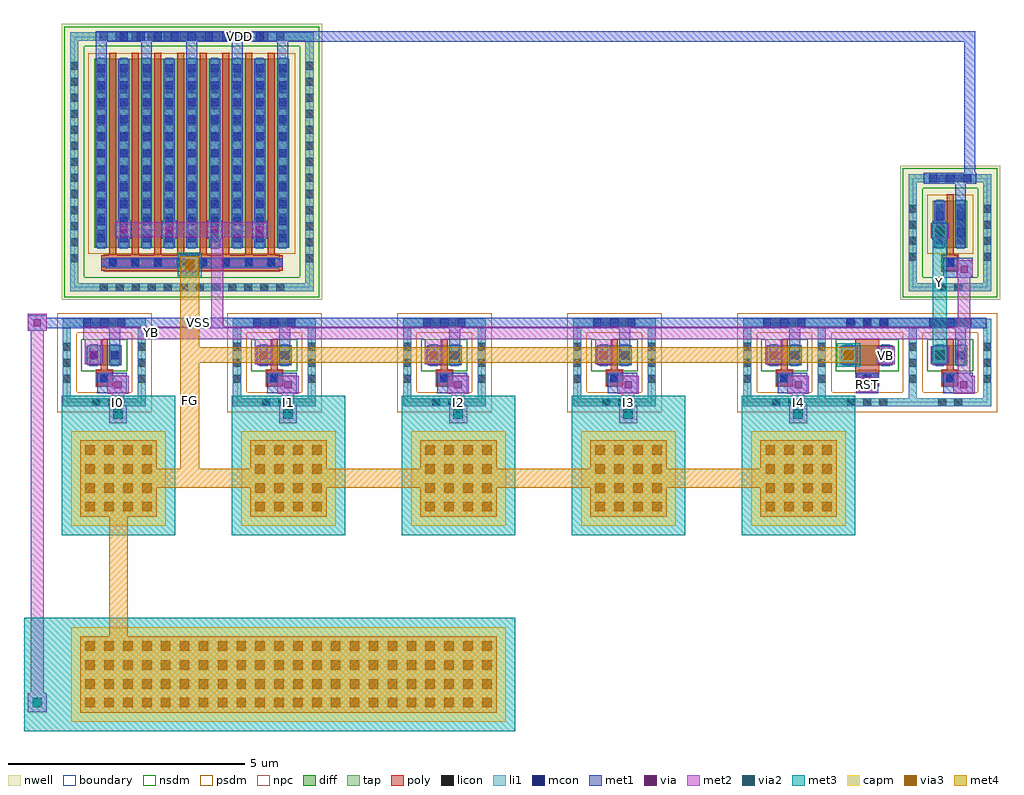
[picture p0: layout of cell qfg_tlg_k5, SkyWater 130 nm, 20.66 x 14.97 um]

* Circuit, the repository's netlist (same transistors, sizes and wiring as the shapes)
.subckt qfg_tlg_k5 I0 I1 I2 I3 I4 RST VB Y YB FG VDD VSS
XMP  YB FG VDD VDD sky130_fd_pr__pfet_01v8 W=32.0 L=0.15
XMNI0 YB I0 VSS VSS sky130_fd_pr__nfet_01v8 W=0.42 L=0.15
XMNI1 YB I1 VSS VSS sky130_fd_pr__nfet_01v8 W=0.42 L=0.15
XMNI2 YB I2 VSS VSS sky130_fd_pr__nfet_01v8 W=0.42 L=0.15
XMNI3 YB I3 VSS VSS sky130_fd_pr__nfet_01v8 W=0.42 L=0.15
XMNI4 YB I4 VSS VSS sky130_fd_pr__nfet_01v8 W=0.42 L=0.15
XCI0 FG I0 sky130_fd_pr__cap_mim_m3_1 W=2.0 L=2.0 MF=1
XCI1 FG I1 sky130_fd_pr__cap_mim_m3_1 W=2.0 L=2.0 MF=1
XCI2 FG I2 sky130_fd_pr__cap_mim_m3_1 W=2.0 L=2.0 MF=1
XCI3 FG I3 sky130_fd_pr__cap_mim_m3_1 W=2.0 L=2.0 MF=1
XCI4 FG I4 sky130_fd_pr__cap_mim_m3_1 W=2.0 L=2.0 MF=1
XCBL FG VSS sky130_fd_pr__cap_mim_m3_1 W=9.2 L=2.0 MF=1
XMR  FG RST VB VSS sky130_fd_pr__nfet_01v8 W=0.42 L=0.5
XIP  Y  YB VDD VDD sky130_fd_pr__pfet_01v8 W=1.0 L=0.15
XIN  Y  YB VSS VSS sky130_fd_pr__nfet_01v8 W=0.42 L=0.15
.ends qfg_tlg_k5

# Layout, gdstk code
import gdstk
lib = gdstk.Library(unit=1e-6, precision=1e-09)
def R(c, l, rs):  # rectangles x0, y0, x1, y1
    for r in rs: c.add(gdstk.rectangle(r[:2], r[2:], *l))
def A(c, l, x, y, w, h, nx, ny, dx, dy):  # array of equal rectangles
    R(c, l, [(x+i*dx, y+j*dy, x+i*dx+w, y+j*dy+h) for i in range(nx) for j in range(ny)])
nwell = (64, 20)
diff = (65, 20)
tap = (65, 44)
poly = (66, 20)
licon = (66, 44)
li1 = (67, 20)
mcon = (67, 44)
met1 = (68, 20)
via = (68, 44)
met2 = (69, 20)
via2 = (69, 44)
met3 = (70, 20)
via3 = (70, 44)
met4 = (71, 20)
capm = (89, 44)
nsdm = (93, 44)
psdm = (94, 20)
npc = (95, 20)
boundary = (235, 4)

sky130_fd_pr__nfet_01v8_ = lib.new_cell('sky130_fd_pr__nfet_01v8_EQ7N4B')
R(sky130_fd_pr__nfet_01v8_, diff, [(-0.54,-0.055,0.54,0.365)])
R(sky130_fd_pr__nfet_01v8_, tap, [(-1.05,-0.925,1.05,-0.755), (-1.05,-0.755,-0.88,0.755), (0.88,-0.755,1.05,0.755), (-1.05,0.755,1.05,0.925)])
R(sky130_fd_pr__nfet_01v8_, poly, [(-0.25,-0.495,0.25,0.495)])
A(sky130_fd_pr__nfet_01v8_, licon, -0.425, -0.925, 0.17, 0.17, 3, 2, 0.34, 1.68)
A(sky130_fd_pr__nfet_01v8_, licon, -1.05, -0.425, 0.17, 0.17, 1, 3, 0, 0.34)
A(sky130_fd_pr__nfet_01v8_, licon, 0.88, -0.425, 0.17, 0.17, 1, 3, 0, 0.34)
R(sky130_fd_pr__nfet_01v8_, licon, [(-0.085,-0.415,0.085,-0.245), (-0.48,0.07,-0.31,0.24), (0.31,0.07,0.48,0.24)])
R(sky130_fd_pr__nfet_01v8_, li1, [(-1.05,-0.925,1.05,-0.755), (-1.05,-0.755,-0.88,0.755), (0.88,-0.755,1.05,0.755), (-0.25,-0.415,0.25,-0.245), (-0.48,-0.075,-0.31,0.385), (0.31,-0.075,0.48,0.385), (-1.05,0.755,1.05,0.925)])
A(sky130_fd_pr__nfet_01v8_, mcon, -0.445, 0.755, 0.17, 0.17, 3, 1, 0.36, 0)
R(sky130_fd_pr__nfet_01v8_, mcon, [(-0.085,-0.415,0.085,-0.245), (-0.48,0.07,-0.31,0.24), (0.31,0.07,0.48,0.24)])
R(sky130_fd_pr__nfet_01v8_, met1, [(-0.23,-0.445,0.23,-0.215), (-0.51,-0.055,-0.28,0.365), (0.28,-0.055,0.51,0.365), (-0.675,0.725,0.675,0.955)])
R(sky130_fd_pr__nfet_01v8_, nsdm, [(-0.665,-0.18,0.665,0.49)])
R(sky130_fd_pr__nfet_01v8_, psdm, [(-1.175,-1.05,1.175,-0.63), (-1.175,-0.63,-0.755,0.63), (0.755,-0.63,1.175,0.63), (-1.175,0.63,1.175,1.05)])
R(sky130_fd_pr__nfet_01v8_, npc, [(-0.185,-0.515,0.185,-0.145)])
R(sky130_fd_pr__nfet_01v8_, boundary, [(-0.965,-0.84,0.965,0.84)])
sky130_fd_pr__nfet_01v8_.add(gdstk.Label('B', (0,-0.84), layer=67, texttype=5))
sky130_fd_pr__nfet_01v8_.add(gdstk.Label('D', (-0.395,0.155), layer=67, texttype=5))
sky130_fd_pr__nfet_01v8_.add(gdstk.Label('S', (0.395,0.155), layer=67, texttype=5))
sky130_fd_pr__nfet_01v8_.add(gdstk.Label('G', (0,-0.33), layer=67, texttype=5))

sky130_fd_pr__pfet_01v8_ = lib.new_cell('sky130_fd_pr__pfet_01v8_DC2PY3')
R(sky130_fd_pr__pfet_01v8_, nwell, [(-2.755,-2.92,2.755,2.92)])
R(sky130_fd_pr__pfet_01v8_, diff, [(-2.065,-1.82,2.065,2.18)])
R(sky130_fd_pr__pfet_01v8_, tap, [(-2.575,-2.74,2.575,-2.57), (-2.575,-2.57,-2.405,2.57), (2.405,-2.57,2.575,2.57), (-2.575,2.57,2.575,2.74)])
A(sky130_fd_pr__pfet_01v8_, poly, -1.755, -1.975, 0.15, 4.285, 8, 1, 0.48, 0)
R(sky130_fd_pr__pfet_01v8_, poly, [(-1.92,-2.305,1.92,-1.975)])
A(sky130_fd_pr__pfet_01v8_, licon, -1.955, -2.74, 0.17, 0.17, 12, 2, 0.34, 5.31)
A(sky130_fd_pr__pfet_01v8_, licon, -1.765, -2.225, 0.17, 0.17, 8, 1, 0.48, 0)
A(sky130_fd_pr__pfet_01v8_, licon, -2.575, -2.125, 0.17, 0.17, 1, 13, 0, 0.34)
A(sky130_fd_pr__pfet_01v8_, licon, 2.405, -2.125, 0.17, 0.17, 1, 13, 0, 0.34)
A(sky130_fd_pr__pfet_01v8_, licon, -2.005, -1.605, 0.17, 0.17, 9, 11, 0.48, 0.34)
A(sky130_fd_pr__pfet_01v8_, li1, -2.005, -1.84, 0.17, 4.04, 9, 1, 0.48, 0)
R(sky130_fd_pr__pfet_01v8_, li1, [(-2.575,-2.74,2.575,-2.57), (-2.575,-2.57,-2.405,2.57), (2.405,-2.57,2.575,2.57), (-1.92,-2.225,1.92,-2.055), (-2.575,2.57,2.575,2.74)])
A(sky130_fd_pr__pfet_01v8_, mcon, -1.765, -2.225, 0.17, 0.17, 8, 1, 0.48, 0)
A(sky130_fd_pr__pfet_01v8_, mcon, -2.005, -1.705, 0.17, 0.17, 9, 11, 0.48, 0.36)
A(sky130_fd_pr__pfet_01v8_, mcon, -1.525, 2.57, 0.17, 0.17, 9, 1, 0.36, 0)
A(sky130_fd_pr__pfet_01v8_, met1, -1.825, -2.255, 0.29, 0.03, 8, 2, 0.48, 0.2)
A(sky130_fd_pr__pfet_01v8_, met1, -2.035, -1.82, 0.23, 4, 9, 1, 0.48, 0)
R(sky130_fd_pr__pfet_01v8_, met1, [(-1.92,-2.225,1.92,-2.055), (-1.745,2.54,1.745,2.77)])
R(sky130_fd_pr__pfet_01v8_, nsdm, [(-2.7,-2.865,2.7,-2.445), (-2.7,-2.445,-2.28,2.445), (2.28,-2.445,2.7,2.445), (-2.7,2.445,2.7,2.865)])
R(sky130_fd_pr__pfet_01v8_, psdm, [(-2.19,-1.945,2.19,2.305)])
R(sky130_fd_pr__pfet_01v8_, npc, [(-1.865,-2.325,1.865,-1.955)])
R(sky130_fd_pr__pfet_01v8_, boundary, [(-2.49,-2.655,2.49,2.655)])
sky130_fd_pr__pfet_01v8_.add(gdstk.Label('B', (0,-2.655), layer=67, texttype=5))
sky130_fd_pr__pfet_01v8_.add(gdstk.Label('D0', (-1.92,0.18), layer=67, texttype=5))
sky130_fd_pr__pfet_01v8_.add(gdstk.Label('G', (0.72,-2.14), layer=67, texttype=5))
sky130_fd_pr__pfet_01v8_.add(gdstk.Label('G', (-0.24,-2.14), layer=67, texttype=5))
sky130_fd_pr__pfet_01v8_.add(gdstk.Label('G', (1.2,-2.14), layer=67, texttype=5))
sky130_fd_pr__pfet_01v8_.add(gdstk.Label('G', (0.24,-2.14), layer=67, texttype=5))
sky130_fd_pr__pfet_01v8_.add(gdstk.Label('G', (1.68,-2.14), layer=67, texttype=5))
sky130_fd_pr__pfet_01v8_.add(gdstk.Label('G', (-0.72,-2.14), layer=67, texttype=5))
sky130_fd_pr__pfet_01v8_.add(gdstk.Label('G', (-1.2,-2.14), layer=67, texttype=5))
sky130_fd_pr__pfet_01v8_.add(gdstk.Label('G', (-1.68,-2.14), layer=67, texttype=5))
sky130_fd_pr__pfet_01v8_.add(gdstk.Label('S1', (-1.44,0.18), layer=67, texttype=5))
sky130_fd_pr__pfet_01v8_.add(gdstk.Label('D2', (-0.96,0.18), layer=67, texttype=5))
sky130_fd_pr__pfet_01v8_.add(gdstk.Label('S3', (-0.48,0.18), layer=67, texttype=5))
sky130_fd_pr__pfet_01v8_.add(gdstk.Label('D4', (0,0.18), layer=67, texttype=5))
sky130_fd_pr__pfet_01v8_.add(gdstk.Label('S5', (0.48,0.18), layer=67, texttype=5))
sky130_fd_pr__pfet_01v8_.add(gdstk.Label('D6', (0.96,0.18), layer=67, texttype=5))
sky130_fd_pr__pfet_01v8_.add(gdstk.Label('S7', (1.44,0.18), layer=67, texttype=5))

c_sky130_fd_pr__nfet_01v8_ = lib.new_cell('sky130_fd_pr__nfet_01v8_M48NH5')
R(c_sky130_fd_pr__nfet_01v8_, diff, [(-0.365,-0.055,0.365,0.365)])
R(c_sky130_fd_pr__nfet_01v8_, tap, [(-0.875,-0.925,0.875,-0.755), (-0.875,-0.755,-0.705,0.755), (0.705,-0.755,0.875,0.755), (-0.875,0.755,0.875,0.925)])
R(c_sky130_fd_pr__nfet_01v8_, poly, [(-0.165,-0.495,0.165,-0.165), (-0.075,-0.165,0.075,0.495)])
A(c_sky130_fd_pr__nfet_01v8_, licon, -0.875, -0.425, 0.17, 0.17, 1, 3, 0, 0.34)
A(c_sky130_fd_pr__nfet_01v8_, licon, 0.705, -0.425, 0.17, 0.17, 1, 3, 0, 0.34)
R(c_sky130_fd_pr__nfet_01v8_, licon, [(-0.255,-0.925,-0.085,-0.755), (0.085,-0.925,0.255,-0.755), (-0.085,-0.415,0.085,-0.245), (-0.305,0.07,-0.135,0.24), (0.135,0.07,0.305,0.24), (-0.255,0.755,-0.085,0.925), (0.085,0.755,0.255,0.925)])
R(c_sky130_fd_pr__nfet_01v8_, li1, [(-0.875,-0.925,0.875,-0.755), (-0.875,-0.755,-0.705,0.755), (0.705,-0.755,0.875,0.755), (-0.165,-0.415,0.165,-0.245), (-0.305,-0.075,-0.135,0.385), (0.135,-0.075,0.305,0.385), (-0.875,0.755,0.875,0.925)])
A(c_sky130_fd_pr__nfet_01v8_, mcon, -0.445, 0.755, 0.17, 0.17, 3, 1, 0.36, 0)
R(c_sky130_fd_pr__nfet_01v8_, mcon, [(-0.085,-0.415,0.085,-0.245), (-0.305,0.07,-0.135,0.24), (0.135,0.07,0.305,0.24)])
R(c_sky130_fd_pr__nfet_01v8_, met1, [(-0.145,-0.445,0.145,-0.215), (-0.335,-0.055,-0.105,0.365), (0.105,-0.055,0.335,0.365), (-0.555,0.725,0.555,0.955)])
R(c_sky130_fd_pr__nfet_01v8_, nsdm, [(-0.49,-0.18,0.49,0.49)])
R(c_sky130_fd_pr__nfet_01v8_, psdm, [(-1,-1.05,1,-0.63), (-1,-0.63,-0.58,0.63), (0.58,-0.63,1,0.63), (-1,0.63,1,1.05)])
R(c_sky130_fd_pr__nfet_01v8_, npc, [(-0.185,-0.515,0.185,-0.145)])
R(c_sky130_fd_pr__nfet_01v8_, boundary, [(-0.79,-0.84,0.79,0.84)])
c_sky130_fd_pr__nfet_01v8_.add(gdstk.Label('B', (0,-0.84), layer=67, texttype=5))
c_sky130_fd_pr__nfet_01v8_.add(gdstk.Label('D', (-0.22,0.155), layer=67, texttype=5))
c_sky130_fd_pr__nfet_01v8_.add(gdstk.Label('S', (0.22,0.155), layer=67, texttype=5))
c_sky130_fd_pr__nfet_01v8_.add(gdstk.Label('G', (0,-0.33), layer=67, texttype=5))

c_sky130_fd_pr__pfet_01v8_ = lib.new_cell('sky130_fd_pr__pfet_01v8_SEBX2B')
R(c_sky130_fd_pr__pfet_01v8_, nwell, [(-1.055,-1.42,1.055,1.42)])
R(c_sky130_fd_pr__pfet_01v8_, diff, [(-0.365,-0.32,0.365,0.68)])
R(c_sky130_fd_pr__pfet_01v8_, tap, [(-0.875,-1.24,0.875,-1.07), (-0.875,-1.07,-0.705,1.07), (0.705,-1.07,0.875,1.07), (-0.875,1.07,0.875,1.24)])
R(c_sky130_fd_pr__pfet_01v8_, poly, [(-0.165,-0.805,0.165,-0.475), (-0.075,-0.475,0.075,0.81)])
A(c_sky130_fd_pr__pfet_01v8_, licon, -0.875, -0.595, 0.17, 0.17, 1, 4, 0, 0.34)
A(c_sky130_fd_pr__pfet_01v8_, licon, 0.705, -0.595, 0.17, 0.17, 1, 4, 0, 0.34)
A(c_sky130_fd_pr__pfet_01v8_, licon, -0.305, -0.245, 0.17, 0.17, 1, 3, 0, 0.34)
A(c_sky130_fd_pr__pfet_01v8_, licon, 0.135, -0.245, 0.17, 0.17, 1, 3, 0, 0.34)
R(c_sky130_fd_pr__pfet_01v8_, licon, [(-0.255,-1.24,-0.085,-1.07), (0.085,-1.24,0.255,-1.07), (-0.085,-0.725,0.085,-0.555), (-0.255,1.07,-0.085,1.24), (0.085,1.07,0.255,1.24)])
R(c_sky130_fd_pr__pfet_01v8_, li1, [(-0.875,-1.24,0.875,-1.07), (-0.875,-1.07,-0.705,1.07), (0.705,-1.07,0.875,1.07), (-0.165,-0.725,0.165,-0.555), (-0.305,-0.34,-0.135,0.7), (0.135,-0.34,0.305,0.7), (-0.875,1.07,0.875,1.24)])
A(c_sky130_fd_pr__pfet_01v8_, mcon, -0.445, 1.07, 0.17, 0.17, 3, 1, 0.36, 0)
R(c_sky130_fd_pr__pfet_01v8_, mcon, [(-0.085,-0.725,0.085,-0.555), (-0.305,-0.085,-0.135,0.085), (0.135,-0.085,0.305,0.085), (-0.305,0.275,-0.135,0.445), (0.135,0.275,0.305,0.445)])
R(c_sky130_fd_pr__pfet_01v8_, met1, [(-0.145,-0.755,0.145,-0.525), (-0.335,-0.32,-0.105,0.68), (0.105,-0.32,0.335,0.68), (-0.555,1.04,0.555,1.27)])
R(c_sky130_fd_pr__pfet_01v8_, nsdm, [(-1,-1.365,1,-0.945), (-1,-0.945,-0.58,0.945), (0.58,-0.945,1,0.945), (-1,0.945,1,1.365)])
R(c_sky130_fd_pr__pfet_01v8_, psdm, [(-0.49,-0.445,0.49,0.805)])
R(c_sky130_fd_pr__pfet_01v8_, npc, [(-0.185,-0.825,0.185,-0.455)])
R(c_sky130_fd_pr__pfet_01v8_, boundary, [(-0.79,-1.155,0.79,1.155)])
c_sky130_fd_pr__pfet_01v8_.add(gdstk.Label('B', (0,-1.155), layer=67, texttype=5))
c_sky130_fd_pr__pfet_01v8_.add(gdstk.Label('D', (-0.22,0.18), layer=67, texttype=5))
c_sky130_fd_pr__pfet_01v8_.add(gdstk.Label('S', (0.22,0.18), layer=67, texttype=5))
c_sky130_fd_pr__pfet_01v8_.add(gdstk.Label('G', (0,-0.64), layer=67, texttype=5))

qfg_tlg_k5 = lib.new_cell('qfg_tlg_k5')
A(qfg_tlg_k5, met1, 0.755, 7.15, 0.625, 0.435, 5, 1, 3.6, 0)
A(qfg_tlg_k5, met1, 0.52, 7.77, 0.32, 0.38, 5, 1, 3.6, 0)
A(qfg_tlg_k5, met1, 1.005, 8.1, 0.23, 0.425, 5, 1, 3.6, 0)
A(qfg_tlg_k5, met1, 1.155, 10.42, 0.32, 0.38, 4, 1, 0.96, 0)
A(qfg_tlg_k5, met1, 0.72, 14.2, 0.23, 0.39, 5, 1, 0.96, 0)
R(qfg_tlg_k5, met1, [(16.825,7.15,17.285,7.585), (18.665,7.15,19.29,7.585), (16.5,7.77,16.82,8.15), (17.29,7.77,17.61,8.15), (18.43,7.77,18.75,8.15), (18.915,8.1,19.145,8.525), (-0.72,8.48,-0.32,8.525), (-0.72,8.525,19.57,8.755), (-0.72,8.755,-0.32,8.8), (18.665,9.6,19.29,10.025), (2.51,9.67,2.91,9.795), (0.93,9.795,4.58,10.025), (2.51,10.025,2.91,10.08), (18.43,10.4,18.75,10.78), (18.915,11.2,19.145,11.59), (18.915,11.59,19.34,11.61), (19.11,11.61,19.34,14.59), (0.72,14.59,19.34,14.82)])
A(qfg_tlg_k5, via, 1.115, 7.255, 0.15, 0.15, 5, 1, 3.6, 0)
A(qfg_tlg_k5, via, 0.605, 7.885, 0.15, 0.15, 5, 1, 3.6, 0)
A(qfg_tlg_k5, via, 1.24, 10.535, 0.15, 0.15, 4, 1, 0.96, 0)
R(qfg_tlg_k5, via, [(16.98,7.255,17.13,7.405), (19.025,7.255,19.175,7.405), (16.585,7.885,16.735,8.035), (17.375,7.885,17.525,8.035), (18.515,7.885,18.665,8.035), (-0.595,8.565,-0.445,8.715), (19.035,9.705,19.185,9.855), (2.635,9.8,2.785,9.95), (18.515,10.515,18.665,10.665)])
A(qfg_tlg_k5, met2, 1, 6.52, 0.38, 0.38, 5, 1, 3.6, 0)
A(qfg_tlg_k5, met2, 1.06, 6.9, 0.26, 0.24, 5, 1, 3.6, 0)
A(qfg_tlg_k5, met2, 0.96, 7.14, 0.46, 0.38, 5, 1, 3.6, 0)
A(qfg_tlg_k5, met2, 0.49, 7.77, 0.38, 0.53, 5, 1, 3.6, 0)
R(qfg_tlg_k5, met2, [(-0.72,0.4,-0.32,0.8), (-0.66,0.8,-0.38,8.48), (18.87,7.14,19.33,7.52), (16.865,7.17,17.245,7.49), (18.97,7.52,19.23,8.3), (16.47,7.77,16.85,8.15), (17.26,7.77,17.64,8.15), (18.4,7.77,18.78,8.15), (0.45,8.3,19.23,8.56), (-0.72,8.48,-0.32,8.83), (3.16,8.56,3.42,10.45), (18.97,8.56,19.23,9.62), (18.95,9.62,19.29,9.97), (2.52,9.7,2.9,10.05), (18.4,10.43,18.78,10.75), (1.135,10.45,4.375,10.77)])
A(qfg_tlg_k5, via2, 1.09, 6.61, 0.2, 0.2, 5, 1, 3.6, 0)
R(qfg_tlg_k5, via2, [(-0.62,0.5,-0.42,0.7), (16.56,7.86,16.76,8.06), (18.49,7.86,18.69,8.06), (2.61,9.775,2.81,9.975), (18.49,10.49,18.69,10.69)])
A(qfg_tlg_k5, met3, 0, 4.15, 2.4, 2.95, 5, 1, 3.6, 0)
R(qfg_tlg_k5, met3, [(-0.8,0,9.6,2.4), (16.41,7.71,16.91,8.21), (18.42,7.79,18.76,8.13), (18.44,8.13,18.74,10.42), (2.46,9.625,2.96,10.125), (18.42,10.42,18.76,10.76)])
A(qfg_tlg_k5, via3, 0.5, 0.5, 0.2, 0.2, 22, 4, 0.4, 0.4)
A(qfg_tlg_k5, via3, 0.5, 4.65, 0.2, 0.2, 4, 4, 0.4, 0.4)
A(qfg_tlg_k5, via3, 4.1, 4.65, 0.2, 0.2, 4, 4, 0.4, 0.4)
A(qfg_tlg_k5, via3, 7.7, 4.65, 0.2, 0.2, 4, 4, 0.4, 0.4)
A(qfg_tlg_k5, via3, 11.3, 4.65, 0.2, 0.2, 4, 4, 0.4, 0.4)
A(qfg_tlg_k5, via3, 14.9, 4.65, 0.2, 0.2, 4, 4, 0.4, 0.4)
R(qfg_tlg_k5, via3, [(16.56,7.86,16.76,8.06), (2.61,9.775,2.81,9.975)])
A(qfg_tlg_k5, met4, 0.39, 4.54, 1.62, 0.61, 5, 2, 3.6, 1.01)
R(qfg_tlg_k5, met4, [(0.39,0.39,9.21,2.01), (1,2.01,1.4,4.54), (0.39,5.15,16.41,5.55), (2.51,5.55,2.91,7.795), (2.51,7.795,16.825,8.125), (2.51,8.125,2.91,10.05)])
A(qfg_tlg_k5, capm, 0.2, 4.35, 2, 2, 5, 1, 3.6, 0)
R(qfg_tlg_k5, capm, [(0.2,0.2,9.4,2.2)])
qfg_tlg_k5.add(gdstk.Reference(sky130_fd_pr__nfet_01v8_, (17.055,7.8)))
qfg_tlg_k5.add(gdstk.Reference(sky130_fd_pr__pfet_01v8_, (2.755,12.05)))
qfg_tlg_k5.add(gdstk.Reference(c_sky130_fd_pr__nfet_01v8_, (15.3,7.8)))
qfg_tlg_k5.add(gdstk.Reference(c_sky130_fd_pr__nfet_01v8_, (11.7,7.8)))
qfg_tlg_k5.add(gdstk.Reference(c_sky130_fd_pr__nfet_01v8_, (8.1,7.8)))
qfg_tlg_k5.add(gdstk.Reference(c_sky130_fd_pr__nfet_01v8_, (4.5,7.8)))
qfg_tlg_k5.add(gdstk.Reference(c_sky130_fd_pr__nfet_01v8_, (0.9,7.8)))
qfg_tlg_k5.add(gdstk.Reference(c_sky130_fd_pr__pfet_01v8_, (18.81,10.55)))
qfg_tlg_k5.add(gdstk.Reference(c_sky130_fd_pr__nfet_01v8_, (18.81,7.8)))
qfg_tlg_k5.add(gdstk.Label('I0', (1.19,6.95), layer=70, texttype=5))
qfg_tlg_k5.add(gdstk.Label('I1', (4.79,6.95), layer=70, texttype=5))
qfg_tlg_k5.add(gdstk.Label('I2', (8.39,6.95), layer=70, texttype=5))
qfg_tlg_k5.add(gdstk.Label('I3', (11.99,6.95), layer=70, texttype=5))
qfg_tlg_k5.add(gdstk.Label('I4', (15.59,6.95), layer=70, texttype=5))
qfg_tlg_k5.add(gdstk.Label('VB', (17.45,7.96), layer=69, texttype=5))
qfg_tlg_k5.add(gdstk.Label('RST', (17.055,7.33), layer=69, texttype=5))
qfg_tlg_k5.add(gdstk.Label('FG', (2.71,7), layer=71, texttype=5))
qfg_tlg_k5.add(gdstk.Label('Y', (18.59,9.5), layer=70, texttype=5))
qfg_tlg_k5.add(gdstk.Label('YB', (1.9,8.43), layer=69, texttype=5))
qfg_tlg_k5.add(gdstk.Label('VDD', (3.755,14.705), layer=68, texttype=5))
qfg_tlg_k5.add(gdstk.Label('VSS', (2.9,8.64), layer=68, texttype=5))

lib.write_gds('qfg_tlg_k5.gds')
